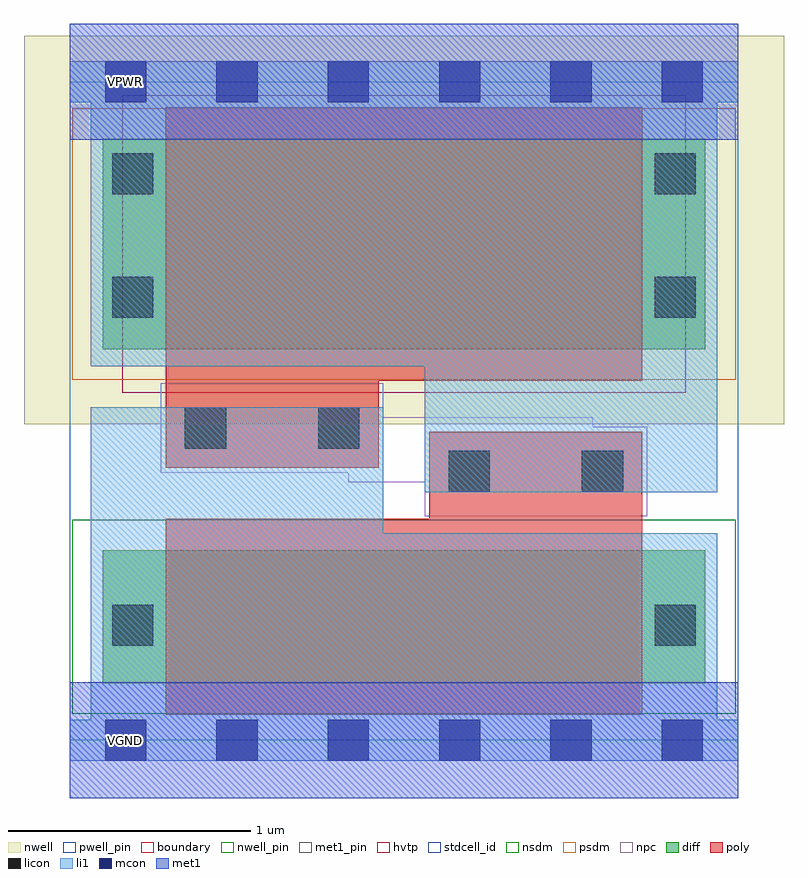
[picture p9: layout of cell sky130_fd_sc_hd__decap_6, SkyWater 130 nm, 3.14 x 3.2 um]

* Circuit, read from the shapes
.subckt sky130_fd_sc_hd__decap_6 VGND VNB VPB VPWR
XM1 VGND VPWR VGND VNB sky130_fd_pr__nfet_01v8 w=0.55 l=1.97
XM2 VPWR VGND VPWR VPB sky130_fd_pr__pfet_01v8_hvt w=0.87 l=1.97
.ends

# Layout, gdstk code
import gdstk
lib = gdstk.Library(unit=1e-6, precision=1e-09)
def R(c, l, rs):  # rectangles x0, y0, x1, y1
    for r in rs: c.add(gdstk.rectangle(r[:2], r[2:], *l))
def A(c, l, x, y, w, h, nx, ny, dx, dy):  # array of equal rectangles
    R(c, l, [(x+i*dx, y+j*dy, x+i*dx+w, y+j*dy+h) for i in range(nx) for j in range(ny)])
nwell_pin = (64, 16)
nwell = (64, 20)
diff = (65, 20)
poly = (66, 20)
licon = (66, 44)
li1 = (67, 20)
mcon = (67, 44)
met1_pin = (68, 16)
met1 = (68, 20)
hvtp = (78, 44)
stdcell_id = (81, 4)
nsdm = (93, 44)
psdm = (94, 20)
npc = (95, 20)
pwell_pin = (122, 16)
boundary = (235, 4)

sky130_fd_sc_hd__decap_6 = lib.new_cell('sky130_fd_sc_hd__decap_6')
R(sky130_fd_sc_hd__decap_6, nwell_pin, [(0.145,2.635,0.315,2.805)])
R(sky130_fd_sc_hd__decap_6, nwell, [(-0.19,1.305,2.95,2.91)])
R(sky130_fd_sc_hd__decap_6, diff, [(0.135,0.235,2.625,0.785), (0.135,1.615,2.625,2.485)])
R(sky130_fd_sc_hd__decap_6, poly, [(0.395,0.105,2.365,0.915), (1.485,0.915,2.365,1.275), (0.395,1.125,1.275,1.485), (0.395,1.485,2.365,2.615)])
R(sky130_fd_sc_hd__decap_6, licon, [(0.175,0.39,0.345,0.56), (2.415,0.39,2.585,0.56), (1.565,1.025,1.735,1.195), (2.115,1.025,2.285,1.195), (0.475,1.205,0.645,1.375), (1.025,1.205,1.195,1.375), (0.175,1.745,0.345,1.915), (2.415,1.745,2.585,1.915), (0.175,2.255,0.345,2.425), (2.415,2.255,2.585,2.425)])
R(sky130_fd_sc_hd__decap_6, li1, [(0,-0.085,2.76,0.085), (0.085,0.085,2.675,0.855), (0.085,0.855,1.295,1.375), (1.465,1.025,2.675,1.545), (0.085,1.545,2.675,2.635), (0,2.635,2.76,2.805)])
A(sky130_fd_sc_hd__decap_6, mcon, 0.145, -0.085, 0.17, 0.17, 6, 2, 0.46, 2.72)
R(sky130_fd_sc_hd__decap_6, met1_pin, [(0.145,-0.085,0.315,0.085), (0.145,2.635,0.315,2.805)])
R(sky130_fd_sc_hd__decap_6, met1, [(0,-0.24,2.76,0.24), (0,2.48,2.76,2.96)])
R(sky130_fd_sc_hd__decap_6, hvtp, [(0.215,1.435,2.545,2.665)])
R(sky130_fd_sc_hd__decap_6, stdcell_id, [(0,0,2.76,2.72)])
R(sky130_fd_sc_hd__decap_6, nsdm, [(0.01,0.11,2.75,0.91)])
R(sky130_fd_sc_hd__decap_6, psdm, [(0.01,1.49,2.75,2.61)])
R(sky130_fd_sc_hd__decap_6, npc, [(1.465,0.925,2.385,1.065), (1.15,1.065,2.385,1.105), (0.375,1.105,2.385,1.295), (0.375,1.295,2.16,1.335), (0.375,1.335,1.295,1.475)])
R(sky130_fd_sc_hd__decap_6, pwell_pin, [(0.145,-0.085,0.315,0.085)])
R(sky130_fd_sc_hd__decap_6, boundary, [(0,0,2.76,2.72)])
sky130_fd_sc_hd__decap_6.add(gdstk.Label('VPWR', (0.23,2.72), layer=68, texttype=5))
sky130_fd_sc_hd__decap_6.add(gdstk.Label('VGND', (0.23,0), layer=68, texttype=5))
sky130_fd_sc_hd__decap_6.add(gdstk.Label('VPB', (0.23,2.72), layer=64, texttype=5))
sky130_fd_sc_hd__decap_6.add(gdstk.Label('VNB', (0.23,0), layer=64, texttype=59))

lib.write_gds('sky130_fd_sc_hd__decap_6.gds')
